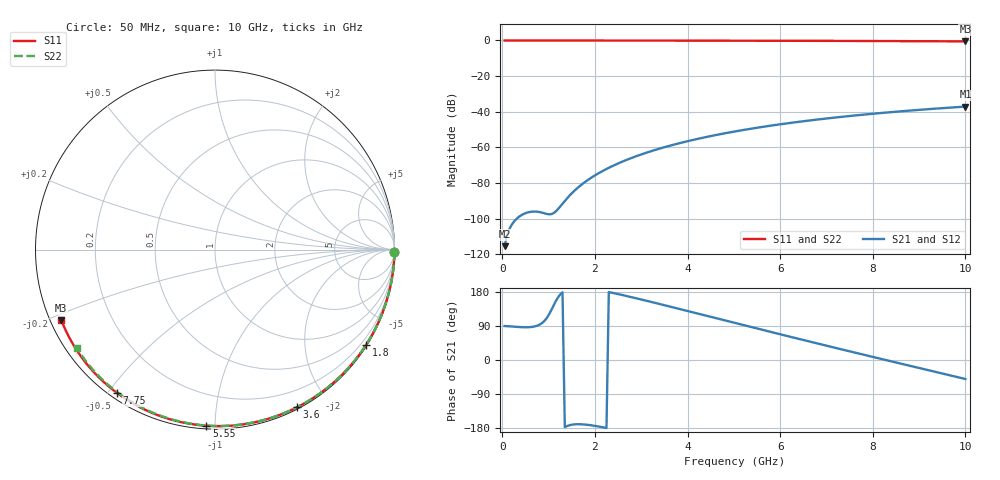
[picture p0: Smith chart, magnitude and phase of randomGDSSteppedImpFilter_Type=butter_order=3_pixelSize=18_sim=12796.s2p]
! freq	dB(S11)	phase(S11)	dB(S12)	phase(S12)
!  dB(S21)	phase(S21)	dB(S22)	phase(S22)
!S-par simulation data
#  GHz  S  DB  R 50
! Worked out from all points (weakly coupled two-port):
!   200 points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, 50 MHz to 10 GHz, reference 50 ohm
!   highest |S21| = -37.14 dB at 10 GHz (marker M1); lowest = -115.5 dB at 50 MHz (marker M2)
!   lowest |S11| = -0.5 dB at 10 GHz (marker M3), VSWR 33.56, Z = 1.56 - j10.9 ohm
!   |S11| at or under -10 dB: nowhere
!   |S22| runs from -0.5 to 0.0 dB; largest |S21 - S12| = 0
!   S11 on the Smith chart (normalised r, x): 50 MHz: open; 1.8 GHz: 0.03, -3.47; 3.6 GHz: 0.02, -1.65; 5.55 GHz: 0.02, -0.95; 7.75 GHz: 0.02, -0.53; 10 GHz: 0.03, -0.22
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0.05  -0.00 -0.9  -115.48 89.7  -115.48 89.7  -0.00 -0.8
0.45  -0.01 -8.2  -97.54 86.5  -97.54 86.5  -0.01 -7.5
0.9  -0.02 -16.2  -96.96 101.9  -96.96 101.9  -0.02 -15.0
1.3  -0.03 -23.3  -91.61 178.6  -91.61 178.6  -0.03 -21.6
1.75  -0.04 -31.2  -80.16 -170.0  -80.16 -170.0  -0.04 -28.9
1.8  -0.04 -32.1  -79.19 -170.5  -79.19 -170.5  -0.04 -29.7
1.95  -0.04 -34.7  -76.56 -172.9  -76.56 -172.9  -0.04 -32.1
2.1  -0.05 -37.3  -74.23 -175.9  -74.23 -175.9  -0.04 -34.5
2.3  -0.05 -40.8  -71.48 179.3  -71.48 179.3  -0.05 -37.7
2.5  -0.06 -44.2  -69.05 174.0  -69.05 174.0  -0.05 -40.9
2.9  -0.07 -50.9  -64.91 162.7  -64.91 162.7  -0.06 -47.2
3.4  -0.08 -59.2  -60.68 147.7  -60.68 147.7  -0.07 -54.9
3.6  -0.08 -62.5  -59.21 141.6  -59.21 141.6  -0.08 -57.9
4.3  -0.10 -73.7  -54.77 120.1  -54.77 120.1  -0.10 -68.4
5.05  -0.13 -85.3  -50.95 97.0  -50.95 97.0  -0.12 -79.2
5.55  -0.15 -92.8  -48.80 81.6  -48.80 81.6  -0.14 -86.3
6.1  -0.18 -100.9  -46.71 64.9  -46.71 64.9  -0.17 -93.8
6.7  -0.21 -109.5  -44.71 46.7  -44.71 46.7  -0.20 -101.9
7.75  -0.29 -124.3  -41.76 15.5  -41.76 15.5  -0.27 -115.7
8.35  -0.34 -132.5  -40.33 -2.1  -40.33 -2.1  -0.32 -123.4
9.2  -0.42 -144.2  -38.56 -26.9  -38.56 -26.9  -0.40 -134.2
10  -0.52 -155.4  -37.14 -50.1  -37.14 -50.1  -0.48 -144.5
